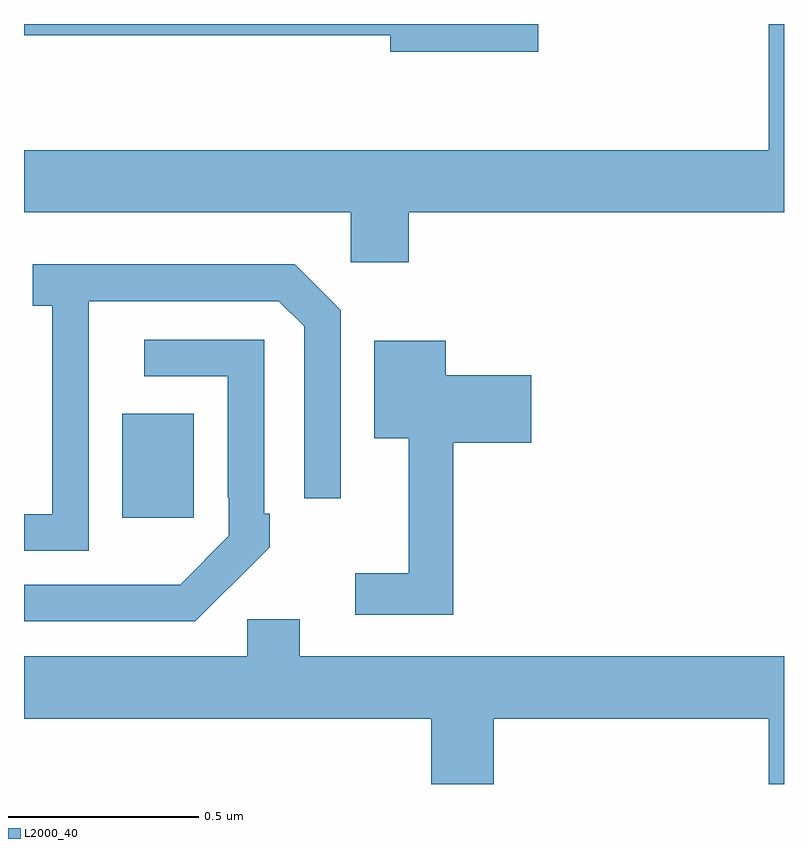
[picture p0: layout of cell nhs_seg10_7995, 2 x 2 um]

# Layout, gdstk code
import gdstk
lib = gdstk.Library(unit=1e-6, precision=1e-09)
def R(c, l, rs):  # rectangles x0, y0, x1, y1
    for r in rs: c.add(gdstk.rectangle(r[:2], r[2:], *l))
def P(c, l, *ps):  # polygons
    for p in ps: c.add(gdstk.Polygon(p, *l))
L2000_40 = (2000, 40)

nhs_seg10_7995 = lib.new_cell('nhs_seg10_7995')
R(nhs_seg10_7995, L2000_40, [(211.259,1278.201,211.447,1278.475)])
P(nhs_seg10_7995, L2000_40, [(212.012,1279.004),(213,1279.004),(213,1279.5),(212.96,1279.5),(212.96,1279.168),(211,1279.168),(211,1279.004),(211.86,1279.004),(211.86,1278.873),(212.012,1278.873)],
  [(212.353,1279.5),(211,1279.5),(211,1279.47),(211.964,1279.47),(211.964,1279.427),(212.353,1279.427)],
  [(211.17,1278.571),(211.171,1278.571),(211.171,1278.771),(211.671,1278.771),(211.737,1278.705),(211.737,1278.252),(211.833,1278.252),(211.833,1278.747),(211.712,1278.868),(211.023,1278.868),(211.023,1278.758),(211.074,1278.758),(211.074,1278.21),(211,1278.21),(211,1278.114),(211.17,1278.114)],
  [(211.541,1278.019),(211.542,1278.018),(211.647,1278.123),(211.647,1278.211),(211.632,1278.211),(211.632,1278.669),(211.317,1278.669),(211.317,1278.573),(211.536,1278.573),(211.536,1278.253),(211.539,1278.253),(211.539,1278.153),(211.411,1278.025),(211.307,1278.025),(211.307,1278.024),(211,1278.024),(211,1277.928),(211.45,1277.928)],
  [(212.129,1278.398),(212.335,1278.398),(212.335,1278.576),(212.11,1278.576),(212.11,1278.667),(211.922,1278.667),(211.922,1278.41),(212.012,1278.41),(212.012,1278.055),(211.872,1278.055),(211.872,1277.946),(212.129,1277.946)],
  [(212.236,1277.672),(212.96,1277.672),(212.96,1277.5),(213,1277.5),(213,1277.836),(211.726,1277.836),(211.726,1277.934),(211.587,1277.934),(211.587,1277.836),(211,1277.836),(211,1277.672),(212.072,1277.672),(212.072,1277.5),(212.236,1277.5)])

lib.write_gds('nhs_seg10_7995.gds')
